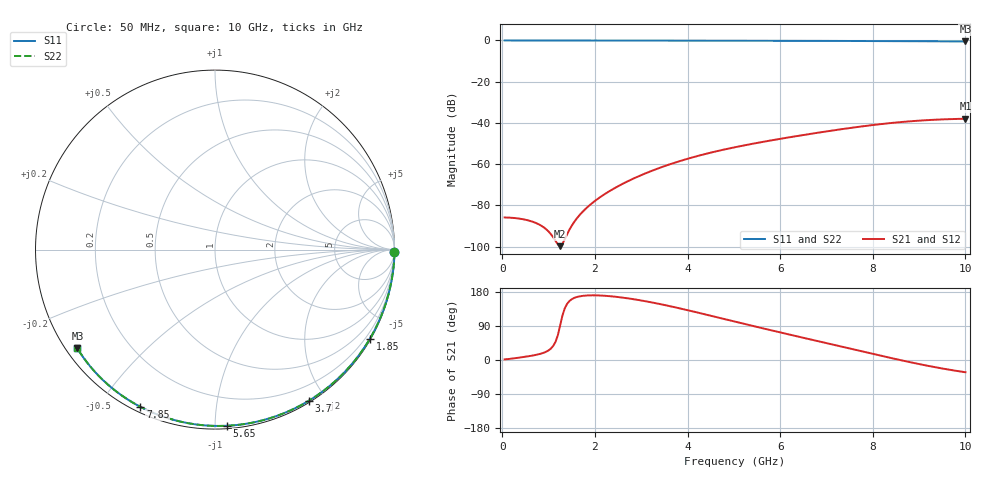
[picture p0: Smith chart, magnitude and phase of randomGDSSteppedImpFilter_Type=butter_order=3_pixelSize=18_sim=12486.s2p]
! freq	dB(S11)	phase(S11)	dB(S12)	phase(S12)
!  dB(S21)	phase(S21)	dB(S22)	phase(S22)
!S-par simulation data
#  GHz  S  DB  R 50
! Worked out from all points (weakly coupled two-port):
!   200 points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, 50 MHz to 10 GHz, reference 50 ohm
!   highest |S21| = -37.99 dB at 10 GHz (marker M1); lowest = -99.8 dB at 1.25 GHz (marker M2)
!   lowest |S11| = -0.5 dB at 10 GHz (marker M3), VSWR 34.68, Z = 1.59 - j16.1 ohm
!   |S11| at or under -10 dB: nowhere
!   |S22| runs from -0.5 to 0.0 dB; largest |S21 - S12| = 0
!   S11 on the Smith chart (normalised r, x): 50 MHz: open; 1.85 GHz: 0.03, -3.75; 3.7 GHz: 0.02, -1.80; 5.65 GHz: 0.02, -1.07; 7.85 GHz: 0.02, -0.63; 10 GHz: 0.03, -0.32
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0.05  -0.00 -0.8  -85.89 1.6  -85.89 1.6  -0.00 -0.8
0.65  -0.01 -10.6  -87.91 11.7  -87.91 11.7  -0.01 -10.6
1.25  -0.03 -20.3  -99.82 91.2  -99.82 91.2  -0.03 -20.3
1.75  -0.04 -28.3  -82.76 169.5  -82.76 169.5  -0.04 -28.3
1.85  -0.04 -29.8  -80.63 170.4  -80.63 170.4  -0.04 -29.8
1.9  -0.04 -30.6  -79.66 170.6  -79.66 170.6  -0.04 -30.6
2.05  -0.04 -33.0  -77.02 170.5  -77.02 170.5  -0.04 -33.0
2.2  -0.04 -35.3  -74.72 169.6  -74.72 169.6  -0.04 -35.3
2.55  -0.05 -40.8  -70.13 165.4  -70.13 165.4  -0.05 -40.8
2.95  -0.06 -46.9  -65.83 158.1  -65.83 158.1  -0.06 -46.9
3.4  -0.07 -53.7  -61.79 147.8  -61.79 147.8  -0.07 -53.7
3.7  -0.08 -58.2  -59.48 139.9  -59.48 139.9  -0.08 -58.2
4.35  -0.10 -67.8  -55.28 121.3  -55.28 121.3  -0.10 -67.8
5.05  -0.12 -77.7  -51.69 100.5  -51.69 100.5  -0.12 -77.7
5.65  -0.14 -86.1  -49.11 82.9  -49.11 82.9  -0.14 -86.1
6.15  -0.16 -92.9  -47.17 68.5  -47.17 68.5  -0.16 -92.9
6.7  -0.19 -100.3  -45.17 52.9  -45.17 52.9  -0.19 -100.3
7.25  -0.23 -107.6  -43.30 37.4  -43.30 37.4  -0.23 -107.6
7.85  -0.27 -115.4  -41.45 20.4  -41.45 20.4  -0.27 -115.4
8.35  -0.31 -122.0  -40.16 6.4  -40.16 6.4  -0.31 -122.0
9.15  -0.39 -132.5  -38.69 -14.4  -38.69 -14.4  -0.39 -132.5
10  -0.50 -144.3  -37.99 -32.3  -37.99 -32.3  -0.50 -144.3
